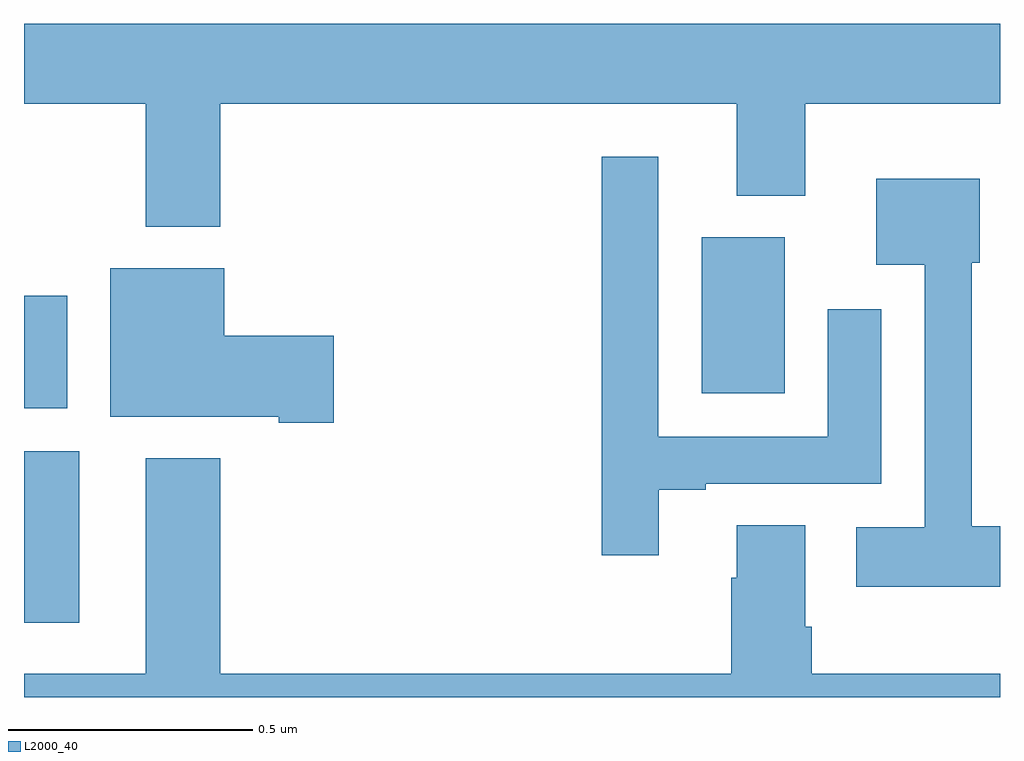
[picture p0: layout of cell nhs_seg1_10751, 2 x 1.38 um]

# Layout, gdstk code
import gdstk
lib = gdstk.Library(unit=1e-6, precision=1e-09)
def R(c, l, rs):  # rectangles x0, y0, x1, y1
    for r in rs: c.add(gdstk.rectangle(r[:2], r[2:], *l))
def P(c, l, *ps):  # polygons
    for p in ps: c.add(gdstk.Polygon(p, *l))
L2000_40 = (2000, 40)

nhs_seg1_10751 = lib.new_cell('nhs_seg1_10751')
R(nhs_seg1_10751, L2000_40, [(245,533.352,245.113,533.704), (245,533.792,245.089,534.022), (246.389,533.822,246.559,534.142)])
P(nhs_seg1_10751, L2000_40, [(245.402,534.416),(246.461,534.416),(246.461,534.227),(246.601,534.227),(246.601,534.416),(247,534.416),(247,534.58),(245,534.58),(245,534.416),(245.249,534.416),(245.249,534.164),(245.402,534.164)],
  [(246.301,533.625),(246.397,533.625),(246.397,533.637),(246.757,533.637),(246.757,533.995),(246.647,533.995),(246.647,533.733),(246.3,533.733),(246.3,534.307),(246.184,534.307),(246.184,533.49),(246.301,533.49)],
  [(247,533.55),(246.942,533.55),(246.942,534.09),(246.958,534.09),(246.958,534.262),(246.746,534.262),(246.746,534.086),(246.846,534.086),(246.846,533.548),(246.705,533.548),(246.705,533.426),(247,533.426)],
  [(245.635,533.94),(245.41,533.94),(245.41,534.079),(245.177,534.079),(245.177,533.774),(245.522,533.774),(245.522,533.762),(245.635,533.762)],
  [(247,533.248),(246.614,533.248),(246.614,533.344),(246.601,533.344),(246.601,533.552),(246.461,533.552),(246.461,533.444),(246.449,533.444),(246.449,533.248),(245.402,533.248),(245.402,533.689),(245.249,533.689),(245.249,533.248),(245,533.248),(245,533.199),(247,533.199)])

lib.write_gds('nhs_seg1_10751.gds')
